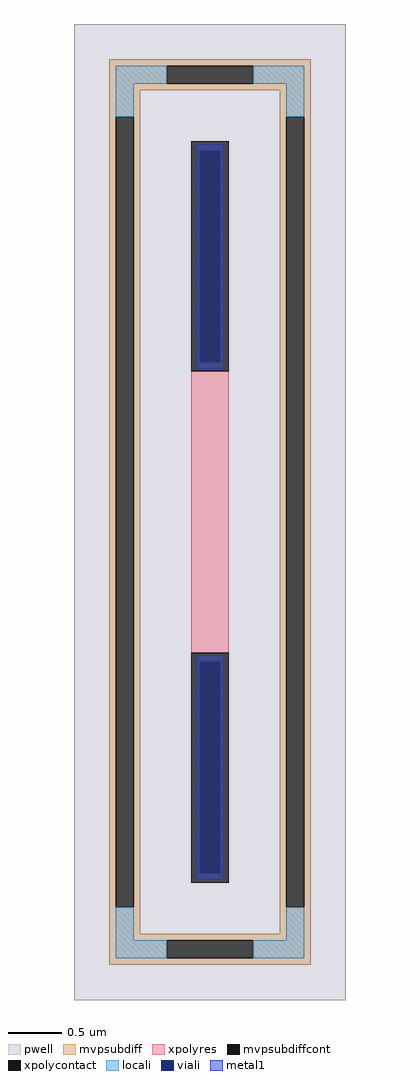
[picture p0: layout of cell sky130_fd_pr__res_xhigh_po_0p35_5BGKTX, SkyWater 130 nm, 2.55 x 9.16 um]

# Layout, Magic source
magic
tech sky130A
magscale 1 2
<< pwell >>
rect -255 -916 255 916
<< mvpsubdiff >>
rect -189 838 189 850
rect -189 804 -81 838
rect 81 804 189 838
rect -189 792 189 804
rect -189 742 -131 792
rect -189 -742 -177 742
rect -143 -742 -131 742
rect 131 742 189 792
rect -189 -792 -131 -742
rect 131 -742 143 742
rect 177 -742 189 742
rect 131 -792 189 -742
rect -189 -804 189 -792
rect -189 -838 -81 -804
rect 81 -838 189 -804
rect -189 -850 189 -838
<< mvpsubdiffcont >>
rect -81 804 81 838
rect -177 -742 -143 742
rect 143 -742 177 742
rect -81 -838 81 -804
<< xpolycontact >>
rect -35 264 35 696
rect -35 -696 35 -264
<< xpolyres >>
rect -35 -264 35 264
<< locali >>
rect -177 804 -81 838
rect 81 804 177 838
rect -177 742 -143 804
rect 143 742 177 804
rect -177 -804 -143 -742
rect 143 -804 177 -742
rect -177 -838 -81 -804
rect 81 -838 177 -804
<< viali >>
rect -19 281 19 678
rect -19 -678 19 -281
<< metal1 >>
rect -25 678 25 690
rect -25 281 -19 678
rect 19 281 25 678
rect -25 269 25 281
rect -25 -281 25 -269
rect -25 -678 -19 -281
rect 19 -678 25 -281
rect -25 -690 25 -678
<< properties >>
string FIXED_BBOX -160 -821 160 821
string gencell sky130_fd_pr__res_xhigh_po_0p35
string library sky130
string parameters w 0.350 l 2.8 m 1 nx 1 wmin 0.350 lmin 0.50 rho 2000 val 17.075k dummy 0 dw 0.0 term 188.2 sterm 0.0 caplen 0 wmax 0.350 guard 1 glc 1 grc 1 gtc 1 gbc 1 compatible {sky130_fd_pr__res_xhigh_po_0p35  sky130_fd_pr__res_xhigh_po_0p69 sky130_fd_pr__res_xhigh_po_1p41  sky130_fd_pr__res_xhigh_po_2p85 sky130_fd_pr__res_xhigh_po_5p73} snake 0 full_metal 1 n_guard 0 hv_guard 1 vias 1 viagb 0 viagt 0 viagl 0 viagr 0
<< end >>
